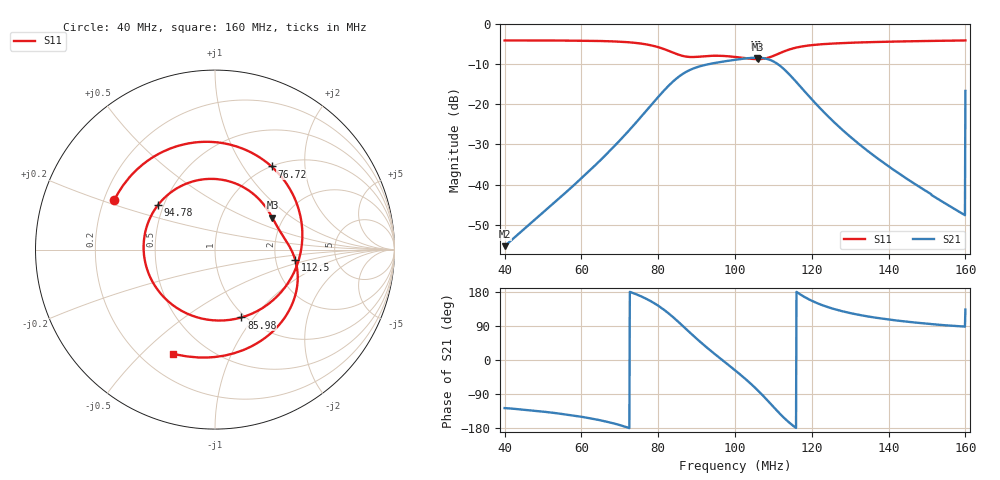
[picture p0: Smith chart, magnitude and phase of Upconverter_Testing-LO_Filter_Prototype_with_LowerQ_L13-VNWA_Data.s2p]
! ListType=Lin
# MHZ S DB R 50
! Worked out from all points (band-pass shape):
!   1024 points, 40 MHz to 160 MHz, reference 50 ohm
!   highest |S21| = -8.38 dB at 105.7 MHz (marker M1); lowest = -55.4 dB at 40 MHz (marker M2)
!   |S21| within 3 dB of the highest: 88.39 MHz to 112.9 MHz (24.53 MHz wide, 24.4 % of centre)
!   lowest |S11| = -8.7 dB at 105.9 MHz (marker M3), VSWR 2.15, Z = 87.7 + j35.9 ohm
!   |S11| at or under -10 dB: nowhere
!   S12 and S22 are empty: the file has one direction only
!   S11 on the Smith chart (normalised r, x): 40 MHz: 0.24, +0.22; 76.72 MHz: 1.00, +1.35; 85.98 MHz: 0.96, -0.87; 94.78 MHz: 0.47, +0.28; 112.5 MHz: 2.58, -0.38; 160 MHz: 0.33, -0.63
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40  -4.09 153.9  -55.36 -126.9  -3000.00 -90.0  -3000.00 -90.0
60.05865  -4.14 125.3  -38.39 -149.9  -3000.00 -90.0  -3000.00 -90.0
70.73314  -4.43 91.7  -28.26 -173.9  -3000.00 -90.0  -3000.00 -90.0
76.71554  -5.04 55.8  -21.82 162.4  -3000.00 -90.0  -3000.00 -90.0
80  -5.76 24.4  -18.17 143.2  -3000.00 -90.0  -3000.00 -90.0
82.93255  -6.75 -15.0  -15.16 121.1  -3000.00 -90.0  -3000.00 -90.0
85.9824  -7.84 -68.7  -12.69 93.8  -3000.00 -90.0  -3000.00 -90.0
88.09384  -8.19 -109.8  -11.51 73.9  -3000.00 -90.0  -3000.00 -90.0
90.55718  -8.13 -154.9  -10.61 51.3  -3000.00 -90.0  -3000.00 -90.0
92.55132  -7.98 173.2  -10.11 33.9  -3000.00 -90.0  -3000.00 -90.0
94.78006  -7.89 141.9  -9.69 15.3  -3000.00 -90.0  -3000.00 -90.0
97.3607  -7.96 109.8  -9.28 -5.6  -3000.00 -90.0  -3000.00 -90.0
100.0587  -8.20 79.7  -8.90 -27.5  -3000.00 -90.0  -3000.00 -90.0
105.6891  -8.74 30.5  -8.38 -77.7  -3000.00 -90.0  -3000.00 -90.0
105.9238  -8.74 29.0  -8.38 -80.0  -3000.00 -90.0  -3000.00 -90.0
108.739  -8.35 13.0  -8.80 -109.7  -3000.00 -90.0  -3000.00 -90.0
112.4927  -6.92 -7.4  -11.01 -149.9  -3000.00 -90.0  -3000.00 -90.0
120  -5.24 -46.7  -18.76 156.3  -3000.00 -90.0  -3000.00 -90.0
127.9765  -4.74 -72.5  -26.38 128.6  -3000.00 -90.0  -3000.00 -90.0
140.0587  -4.39 -94.2  -35.51 106.8  -3000.00 -90.0  -3000.00 -90.0
159.2962  -4.09 -111.3  -47.31 88.5  -3000.00 -90.0  -3000.00 -90.0
160  -4.08 -111.7  -16.66 133.1  -3000.00 -90.0  -3000.00 -90.0
